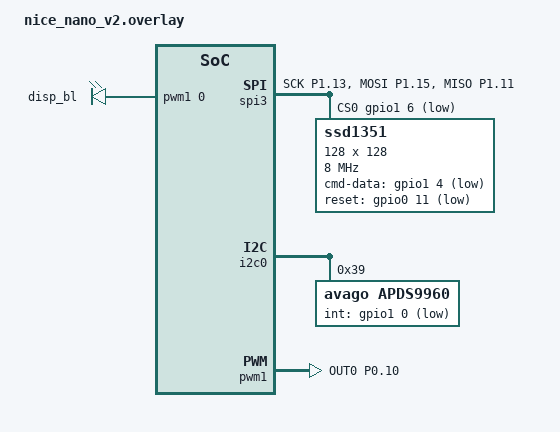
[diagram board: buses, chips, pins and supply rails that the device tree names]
/ {
   pwmleds {
      compatible = "pwm-leds";
      disp_bl: pwm_led_1 {
          pwms = <&pwm1 0 PWM_MSEC(1) PWM_POLARITY_NORMAL>;
      };
  };
};

&spi2 {
   status = "disabled";
};

&pinctrl {
   spi3_default: spi3_default {
		group1 {
			psels = <NRF_PSEL(SPIM_SCK, 1, 13)>,
				<NRF_PSEL(SPIM_MOSI, 1, 15)>,
				<NRF_PSEL(SPIM_MISO, 1, 11)>;
		};
	};

	spi3_sleep: spi3_sleep {
		group1 {
			psels = <NRF_PSEL(SPIM_SCK, 1, 13)>,
				<NRF_PSEL(SPIM_MOSI, 1, 15)>,
				<NRF_PSEL(SPIM_MISO, 1, 11)>;
			low-power-enable;
		};
	};

   pwm1_default: pwm1_default {
      group1 {
         psels = <NRF_PSEL(PWM_OUT0, 0, 10)>;
         nordic,invert;
      };
   };

   pwm1_sleep: pwm1_sleep {
      group1 {
         psels = <NRF_PSEL(PWM_OUT0, 0, 10)>;
         low-power-enable;
      };
   };
};

disp_spi: &spi3 {
   status = "okay";
   pinctrl-0 = <&spi3_default>;
	pinctrl-1 = <&spi3_sleep>;
	pinctrl-names = "default", "sleep";
   cs-gpios = <&gpio1 6 GPIO_ACTIVE_LOW>;

   ssd1351: ssd1351@0 {
       compatible = "zmk,ssd1351";
       spi-max-frequency = <8000000>;
       reg = <0>;
       cmd-data-gpios = <&gpio1 4 GPIO_ACTIVE_LOW>;
       reset-gpios = <&gpio0 11 GPIO_ACTIVE_LOW>;
       width = <128>;
       height = <128>;
       x-offset = <0>;
       y-offset = <0>;
       status = "okay";
   };
};

&i2c0 {
   status = "okay";

   apds9960: apds9960@39 {
       compatible = "avago,apds9960";
       status = "okay";
       reg = <0x39>;
       int-gpios = <&gpio1 0 (GPIO_ACTIVE_LOW | GPIO_PULL_UP)>;
   };
};

&pwm1 {
  status = "okay";
  pinctrl-0 = <&pwm1_default>;
  pinctrl-1 = <&pwm1_sleep>;
  pinctrl-names = "default", "sleep";
};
